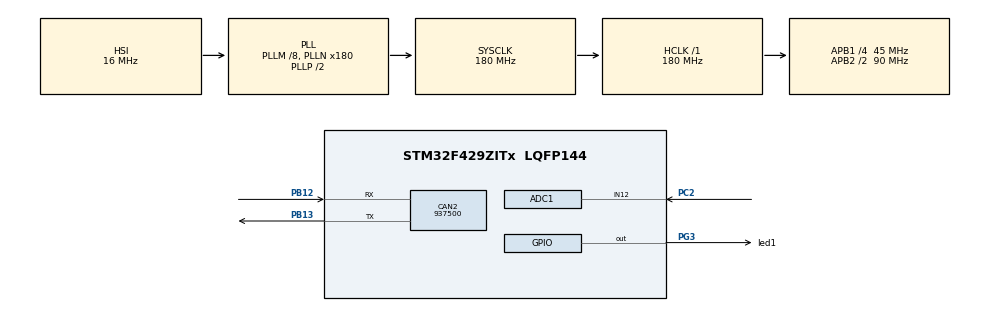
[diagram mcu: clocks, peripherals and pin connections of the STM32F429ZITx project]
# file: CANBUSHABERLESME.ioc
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ADC1.Channel-0\#ChannelRegularConversion=ADC_CHANNEL_12
ADC1.ContinuousConvMode=ENABLE
ADC1.NbrOfConversionFlag=1
ADC1.Rank-0\#ChannelRegularConversion=1
ADC1.SamplingTime-0\#ChannelRegularConversion=ADC_SAMPLETIME_3CYCLES
ADC1.master=1
CAN2.CalculateBaudRate=937500
CAN2.CalculateTimeBit=1066
CAN2.CalculateTimeQuantum=355.55555555555554
Mcu.Family=STM32F4
Mcu.Name=STM32F429ZITx
Mcu.Package=LQFP144
NVIC.CAN2_RX0_IRQn=true\:0\:0\:false\:false\:true\:true\:true\:true
NVIC.PriorityGroup=NVIC_PRIORITYGROUP_4
PB12.GPIO_PuPd=GPIO_PULLUP
PB12.GPIO_Speed=GPIO_SPEED_FREQ_VERY_HIGH
PB12.Mode=CAN_Activate
PB12.Signal=CAN2_RX
PB13.Mode=CAN_Activate
PB13.Signal=CAN2_TX
PC2.Signal=ADCx_IN12
PG3.GPIO_Label=led1
PG3.Signal=GPIO_Output
ProjectManager.HeapSize=0x200
ProjectManager.StackSize=0x400
ProjectManager.TargetToolchain=STM32CubeIDE
RCC.48MHZClocksFreq_Value=90000000
RCC.AHBFreq_Value=180000000
RCC.APB1CLKDivider=RCC_HCLK_DIV4
RCC.APB1Freq_Value=45000000
RCC.APB1TimFreq_Value=90000000
RCC.APB2CLKDivider=RCC_HCLK_DIV2
RCC.APB2Freq_Value=90000000
RCC.APB2TimFreq_Value=180000000
RCC.CortexFreq_Value=180000000
RCC.HCLKFreq_Value=180000000
RCC.HSE_VALUE=25000000
RCC.HSI_VALUE=16000000
RCC.LSE_VALUE=32768
RCC.PLLM=8
RCC.PLLN=180
RCC.SYSCLKFreq_VALUE=180000000
RCC.SYSCLKSource=RCC_SYSCLKSOURCE_PLLCLK
RCC.VCOOutputFreq_Value=360000000
SH.ADCx_IN12.0=ADC1_IN12,IN12
board=custom

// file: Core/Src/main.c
/* USER CODE BEGIN Header */
/**
  ******************************************************************************
  * @file           : main.c
  * @brief          : Main program body
  ******************************************************************************
  * @attention
  *
  * Copyright (c) 2026 STMicroelectronics.
  * All rights reserved.
  *
  * This software is licensed under terms that can be found in the LICENSE file
  * in the root directory of this software component.
  * If no LICENSE file comes with this software, it is provided AS-IS.
  *
  ******************************************************************************
  */
/* USER CODE END Header */
#include "main.h"

ADC_HandleTypeDef hadc1;

CAN_HandleTypeDef hcan2;

/* USER CODE BEGIN PV */
volatile int stopsending = 0;
uint32_t value_adc;
//RECIEVE EDERKEN LAZIM OLACAK
CAN_RxHeaderTypeDef   RxHeader;
uint8_t               RxData[8];
/* USER CODE END PV */

void SystemClock_Config(void);
static void MX_GPIO_Init(void);
static void MX_CAN2_Init(void);
static void MX_ADC1_Init(void);

/* USER CODE BEGIN 0 */
void setCANBAUDRATE(){
	HAL_CAN_Stop(&hcan2);
	hcan2.Init.Prescaler = 23;
	hcan2.Init.TimeSeg1 = CAN_BS1_13TQ;
	hcan2.Init.TimeSeg2 = CAN_BS2_3TQ;
	hcan2.Init.SyncJumpWidth = CAN_SJW_1TQ;

	if (HAL_CAN_Init(&hcan2) != HAL_OK)
	{
		Error_Handler(); // Konfigürasyon hatası
	}
	if (HAL_CAN_Start(&hcan2) != HAL_OK)
	{
		Error_Handler(); // Başlatma hatası
	}
}
/* USER CODE END 0 */

int main(void)
{

  /* USER CODE BEGIN 1 */
	CAN_TxHeaderTypeDef   TxHeader;
	uint8_t               TxData[8];
	uint32_t              TxMailbox;

	TxHeader.IDE = CAN_ID_STD; // STANDART KIMLIK
	TxHeader.StdId = 0x447; // ADRESİ(EN FAZ 11 BİT) // BİRİNCİ CİHAZ 0x446 İKİNCİ CİHAZ 0x447
	TxHeader.RTR = CAN_RTR_DATA; // VERİ ÇERÇEVESİ GÖNDERDİ�?İMİZİ GÖSTERİR ?
	TxHeader.DLC = 2; // VERİMİZ 2 BYTE

	TxData[0] = 50;
	TxData[1] = 0xAA;

  /* USER CODE END 1 */

  /* MCU Configuration--------------------------------------------------------*/

  /* Reset of all peripherals, Initializes the Flash interface and the Systick. */
  HAL_Init();

  /* Configure the system clock */
  SystemClock_Config();

  /* Initialize all configured peripherals */
  MX_GPIO_Init();
  MX_CAN2_Init();
  MX_ADC1_Init();
  /* USER CODE BEGIN 2 */
  setCANBAUDRATE();

  CAN_FilterTypeDef sFilterConfig;
    sFilterConfig.FilterBank = 14; // CAN2 filtreleri 14'ten başlar
    sFilterConfig.FilterMode = CAN_FILTERMODE_IDMASK;
    sFilterConfig.FilterScale = CAN_FILTERSCALE_32BIT;
    sFilterConfig.FilterIdHigh = 0x0000;
    sFilterConfig.FilterIdLow = 0x0000;
    sFilterConfig.FilterMaskIdHigh = 0x0000;
    sFilterConfig.FilterMaskIdLow = 0x0000;
    sFilterConfig.FilterFIFOAssignment = CAN_RX_FIFO0;
    sFilterConfig.FilterActivation = ENABLE;
    sFilterConfig.SlaveStartFilterBank = 14;

    if (HAL_CAN_ConfigFilter(&hcan2, &sFilterConfig) != HAL_OK)
      {
          Error_Handler();
      }
	  if (HAL_CAN_ActivateNotification(&hcan2, CAN_IT_RX_FIFO0_MSG_PENDING) != HAL_OK)
	    {
	  	  Error_Handler();
	    }
  /* USER CODE END 2 */

  /* Infinite loop */
  while (1)
  {

    /* USER CODE BEGIN 3 */
	  /*
	   *
			hcan1Bu, kullandığımız CAN örneğidir.
			TxHeaderBu, mesajın başlığıdır.
			TxDataVeri alanıdır.
			TxMailboxBu, başlık ve veri mesajını taşıyacak olan posta kutusudur.

	   */
	  HAL_ADC_Start(&hadc1);
	  if(HAL_ADC_PollForConversion(&hadc1,100) == HAL_OK ){
		  value_adc = HAL_ADC_GetValue(&hadc1);
		  HAL_GPIO_WritePin(led1_GPIO_Port, led1_Pin, 0);
	  }
	  else{
		  HAL_GPIO_WritePin(led1_GPIO_Port, led1_Pin, 0);
		  HAL_Delay(50);
		  HAL_GPIO_WritePin(led1_GPIO_Port, led1_Pin, 1);
		  HAL_Delay(50);
		  HAL_GPIO_WritePin(led1_GPIO_Port, led1_Pin, 0);
		  HAL_Delay(50);
	  }
	  if (stopsending == 0)
	        {
	            if(HAL_CAN_AddTxMessage(&hcan2, &TxHeader, TxData, &TxMailbox) == HAL_OK){
	                TxData[0] += 1;
	            }
	            HAL_GPIO_WritePin(led1_GPIO_Port, led1_Pin, 0);
	        }
	        else
	        {
	            // 0x453 mesajı geldi ve stopsending 1 oldu.
	            HAL_GPIO_WritePin(led1_GPIO_Port, led1_Pin, 1);
	        }

	        HAL_Delay(10);
  }
  /* USER CODE END 3 */
}

void SystemClock_Config(void)
{
  RCC_OscInitTypeDef RCC_OscInitStruct = {0};
  RCC_ClkInitTypeDef RCC_ClkInitStruct = {0};

  /** Configure the main internal regulator output voltage
  */
  __HAL_RCC_PWR_CLK_ENABLE();
  __HAL_PWR_VOLTAGESCALING_CONFIG(PWR_REGULATOR_VOLTAGE_SCALE1);

  /** Initializes the RCC Oscillators according to the specified parameters
  * in the RCC_OscInitTypeDef structure.
  */
  RCC_OscInitStruct.OscillatorType = RCC_OSCILLATORTYPE_HSI;
  RCC_OscInitStruct.HSIState = RCC_HSI_ON;
  RCC_OscInitStruct.HSICalibrationValue = RCC_HSICALIBRATION_DEFAULT;
  RCC_OscInitStruct.PLL.PLLState = RCC_PLL_ON;
  RCC_OscInitStruct.PLL.PLLSource = RCC_PLLSOURCE_HSI;
  RCC_OscInitStruct.PLL.PLLM = 8;
  RCC_OscInitStruct.PLL.PLLN = 180;
  RCC_OscInitStruct.PLL.PLLP = RCC_PLLP_DIV2;
  RCC_OscInitStruct.PLL.PLLQ = 4;
  if (HAL_RCC_OscConfig(&RCC_OscInitStruct) != HAL_OK)
  {
    Error_Handler();
  }

  /** Activate the Over-Drive mode
  */
  if (HAL_PWREx_EnableOverDrive() != HAL_OK)
  {
    Error_Handler();
  }

  /** Initializes the CPU, AHB and APB buses clocks
  */
  RCC_ClkInitStruct.ClockType = RCC_CLOCKTYPE_HCLK|RCC_CLOCKTYPE_SYSCLK
                              |RCC_CLOCKTYPE_PCLK1|RCC_CLOCKTYPE_PCLK2;
  RCC_ClkInitStruct.SYSCLKSource = RCC_SYSCLKSOURCE_PLLCLK;
  RCC_ClkInitStruct.AHBCLKDivider = RCC_SYSCLK_DIV1;
  RCC_ClkInitStruct.APB1CLKDivider = RCC_HCLK_DIV4;
  RCC_ClkInitStruct.APB2CLKDivider = RCC_HCLK_DIV2;

  if (HAL_RCC_ClockConfig(&RCC_ClkInitStruct, FLASH_LATENCY_5) != HAL_OK)
  {
    Error_Handler();
  }
}

static void MX_ADC1_Init(void)
{

  ADC_ChannelConfTypeDef sConfig = {0};

  /** Configure the global features of the ADC (Clock, Resolution, Data Alignment and number of conversion)
  */
  hadc1.Instance = ADC1;
  hadc1.Init.ClockPrescaler = ADC_CLOCK_SYNC_PCLK_DIV4;
  hadc1.Init.Resolution = ADC_RESOLUTION_12B;
  hadc1.Init.ScanConvMode = DISABLE;
  hadc1.Init.ContinuousConvMode = ENABLE;
  hadc1.Init.DiscontinuousConvMode = DISABLE;
  hadc1.Init.ExternalTrigConvEdge = ADC_EXTERNALTRIGCONVEDGE_NONE;
  hadc1.Init.ExternalTrigConv = ADC_SOFTWARE_START;
  hadc1.Init.DataAlign = ADC_DATAALIGN_RIGHT;
  hadc1.Init.NbrOfConversion = 1;
  hadc1.Init.DMAContinuousRequests = DISABLE;
  hadc1.Init.EOCSelection = ADC_EOC_SINGLE_CONV;
  if (HAL_ADC_Init(&hadc1) != HAL_OK)
  {
    Error_Handler();
  }

  /** Configure for the selected ADC regular channel its corresponding rank in the sequencer and its sample time.
  */
  sConfig.Channel = ADC_CHANNEL_12;
  sConfig.Rank = 1;
  sConfig.SamplingTime = ADC_SAMPLETIME_3CYCLES;
  if (HAL_ADC_ConfigChannel(&hadc1, &sConfig) != HAL_OK)
  {
    Error_Handler();
  }

}

static void MX_CAN2_Init(void)
{

  hcan2.Instance = CAN2;
  hcan2.Init.Prescaler = 16;
  hcan2.Init.Mode = CAN_MODE_NORMAL;
  hcan2.Init.SyncJumpWidth = CAN_SJW_1TQ;
  hcan2.Init.TimeSeg1 = CAN_BS1_1TQ;
  hcan2.Init.TimeSeg2 = CAN_BS2_1TQ;
  hcan2.Init.TimeTriggeredMode = DISABLE;
  hcan2.Init.AutoBusOff = DISABLE;
  hcan2.Init.AutoWakeUp = DISABLE;
  hcan2.Init.AutoRetransmission = DISABLE;
  hcan2.Init.ReceiveFifoLocked = DISABLE;
  hcan2.Init.TransmitFifoPriority = DISABLE;
  if (HAL_CAN_Init(&hcan2) != HAL_OK)
  {
    Error_Handler();
  }

}

static void MX_GPIO_Init(void)
{
  GPIO_InitTypeDef GPIO_InitStruct = {0};

  /* GPIO Ports Clock Enable */
  __HAL_RCC_GPIOC_CLK_ENABLE();
  __HAL_RCC_GPIOB_CLK_ENABLE();
  __HAL_RCC_GPIOG_CLK_ENABLE();

  /*Configure GPIO pin Output Level */
  HAL_GPIO_WritePin(led1_GPIO_Port, led1_Pin, GPIO_PIN_RESET);

  /*Configure GPIO pin : led1_Pin */
  GPIO_InitStruct.Pin = led1_Pin;
  GPIO_InitStruct.Mode = GPIO_MODE_OUTPUT_PP;
  GPIO_InitStruct.Pull = GPIO_NOPULL;
  GPIO_InitStruct.Speed = GPIO_SPEED_FREQ_LOW;
  HAL_GPIO_Init(led1_GPIO_Port, &GPIO_InitStruct);

}

/* USER CODE BEGIN 4 */
void HAL_CAN_RxFifo0MsgPendingCallback(CAN_HandleTypeDef *hcan)
{
  if (HAL_CAN_GetRxMessage(hcan, CAN_RX_FIFO0, &RxHeader, RxData) != HAL_OK)
  {
    Error_Handler();
  }
  if ((RxHeader.StdId == 0x453))
  {
	  stopsending = 1;
  }
}
/* USER CODE END 4 */

void Error_Handler(void)
{
  __disable_irq();
  while (1)
  {
  }
}
